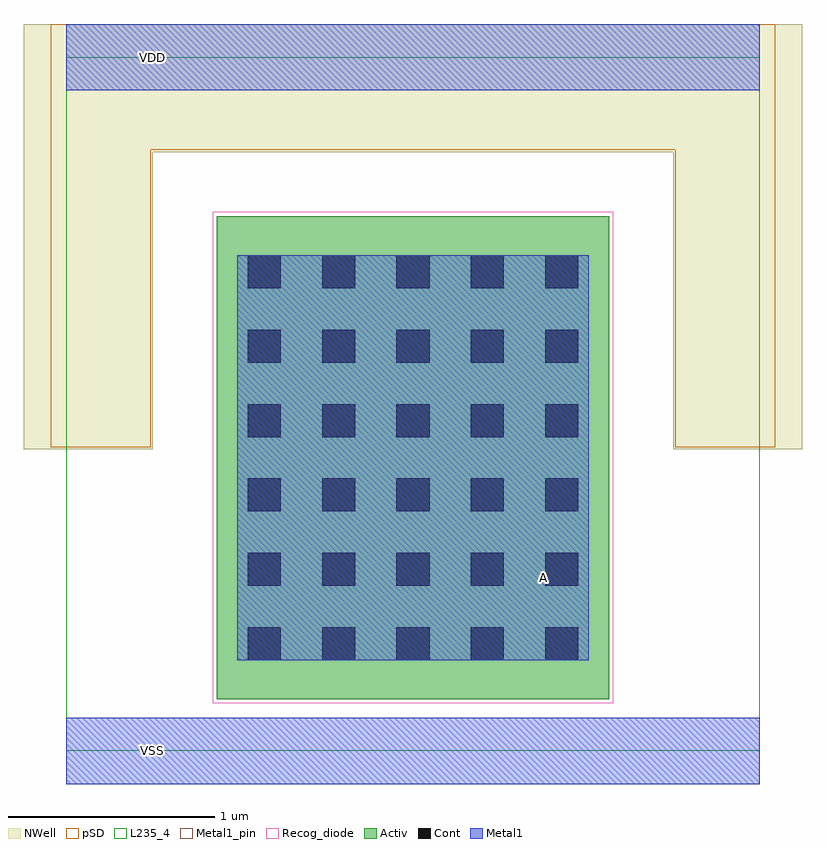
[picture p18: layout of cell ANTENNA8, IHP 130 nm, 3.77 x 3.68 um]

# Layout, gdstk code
import gdstk
lib = gdstk.Library(unit=1e-6, precision=1e-09)
def R(c, l, rs):  # rectangles x0, y0, x1, y1
    for r in rs: c.add(gdstk.rectangle(r[:2], r[2:], *l))
def A(c, l, x, y, w, h, nx, ny, dx, dy):  # array of equal rectangles
    R(c, l, [(x+i*dx, y+j*dy, x+i*dx+w, y+j*dy+h) for i in range(nx) for j in range(ny)])
def P(c, l, *ps):  # polygons
    for p in ps: c.add(gdstk.Polygon(p, *l))
Activ = (1, 0)
Cont = (6, 0)
Metal1 = (8, 0)
Metal1_pin = (8, 2)
pSD = (14, 0)
NWell = (31, 0)
Recog_diode = (99, 31)
L235_4 = (235, 4)

dantenna_cdns_7643412319 = lib.new_cell('dantenna_CDNS_764341231942')
R(dantenna_cdns_7643412319, Activ, [(0,0,1.9,2.34)])
A(dantenna_cdns_7643412319, Cont, 0.15, 0.19, 0.16, 0.16, 5, 6, 0.36, 0.36)
R(dantenna_cdns_7643412319, Metal1, [(0.1,0.19,1.8,2.15)])
R(dantenna_cdns_7643412319, Metal1_pin, [(0.1,0.19,1.8,2.15)])
R(dantenna_cdns_7643412319, Recog_diode, [(-0.02,-0.02,1.92,2.36)])
dantenna_cdns_7643412319.add(gdstk.Label('dant', (0.95,1.17), layer=63, texttype=0))

antenna8 = lib.new_cell('ANTENNA8')
R(antenna8, Metal1, [(0,-0.16,3.36,0.16), (0,3.2,3.36,3.52)])
R(antenna8, Metal1_pin, [(0,-0.16,3.36,0.16), (0.83,0.44,2.53,2.4), (0,3.2,3.36,3.52)])
P(antenna8, pSD, [(3.435,3.52),(-0.075,3.52),(-0.075,1.47),(0.41,1.47),(0.41,2.91),(2.95,2.91),(2.95,1.47),(3.435,1.47)])
P(antenna8, NWell, [(3.565,3.52),(-0.205,3.52),(-0.205,1.46),(0.42,1.46),(0.42,2.9),(2.94,2.9),(2.94,1.46),(3.565,1.46)])
R(antenna8, L235_4, [(0,0,3.36,3.36)])
antenna8.add(gdstk.Reference(dantenna_cdns_7643412319, (0.73,0.25)))
antenna8.add(gdstk.Label('A', (2.31,0.84), layer=8, texttype=25))
antenna8.add(gdstk.Label('VSS', (0.42,0), layer=8, texttype=25))
antenna8.add(gdstk.Label('VDD', (0.42,3.36), layer=8, texttype=25))

lib.write_gds('ANTENNA8.gds')
